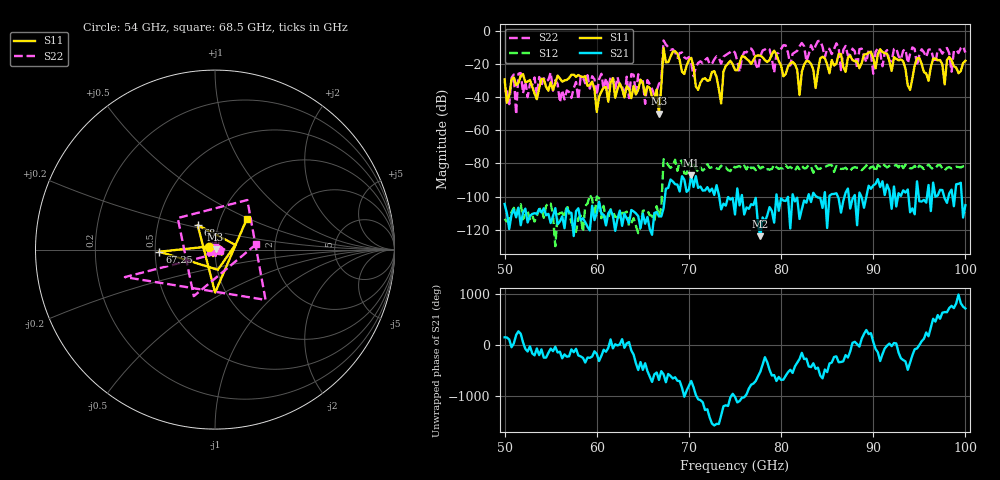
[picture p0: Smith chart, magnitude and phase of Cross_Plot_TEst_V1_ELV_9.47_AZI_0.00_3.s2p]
! 11/25/2026 1:18:00 PM
! C:\ANRITSUVNA\TEMP\TEMP.S2P
! CHANNEL.1
! TR.MEASUREMENT
! RAW.DATA
# HZ S RI R 50.0
! FREQ.HZ  S11RE  S11IM  S21RE  S21IM  S12RE  S12IM  S22RE  S22IM
!; PortSelection: Port_12
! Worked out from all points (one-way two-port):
!   201 points, 50 GHz to 100 GHz, reference 50 ohm
!   highest |S21| = -87.21 dB at 70.25 GHz (marker M1); lowest = -124.0 dB at 77.75 GHz (marker M2)
!   lowest |S11| = -49.8 dB at 66.75 GHz (marker M3), VSWR 1.01, Z = 50.3 + j0.0706 ohm
!   |S11| at or under -10 dB: start of sweep to end of sweep
!   |S22| runs from -50.4 to -5.6 dB; largest |S21 - S12| = 0.00016
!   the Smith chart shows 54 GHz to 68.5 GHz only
!   S11 on the Smith chart (normalised r, x): 54 GHz: 0.93, +0.03; 67.25 GHz: 0.53, -0.01; 68 GHz: 0.80, +0.22; 68.5 GHz: 1.33, +0.49
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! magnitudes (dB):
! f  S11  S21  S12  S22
! 50 GHz  -29.1  -104.5  -113.5  -35.8
! 51.25 GHz  -32.6  -112.6  -110.9  -50.4
! 54 GHz  -28.7  -109.6  -106.9  -32.9
! 58.5 GHz  -27.7  -113.1  -121.4  -27.7
! 60 GHz  -48.8  -110.1  -100.0  -38.6
! 61.75 GHz  -28.4  -111.7  -108.9  -27.7
! 66.75 GHz  -49.8  -111.8  -112.0  -31.9
! 67.25 GHz  -10.2  -107.1  -77.4  -5.6
! 68 GHz  -15.5  -89.7  -82.7  -11.3
! 68.5 GHz  -12.1  -92.5  -77.8  -12.7
! 70.25 GHz  -16.1  -87.2  -82.8  -19.1
! 73.5 GHz  -43.7  -107.8  -81.3  -19.7
! 73.75 GHz  -24.3  -104.3  -82.6  -15.4
! 75 GHz  -23.5  -110.8  -82.4  -13.0
! 77.75 GHz  -14.8  -124.0  -83.1  -15.1
! 81.25 GHz  -18.6  -98.6  -83.2  -13.7
! 82 GHz  -38.6  -113.5  -83.4  -9.2
! 83.5 GHz  -23.4  -97.7  -85.6  -11.8
! 91.75 GHz  -18.1  -96.3  -81.5  -17.6
! 94 GHz  -35.5  -109.5  -83.0  -13.7
! 94.75 GHz  -16.4  -90.8  -83.5  -21.0
! 100 GHz  -17.9  -105.2  -81.5  -12.9
